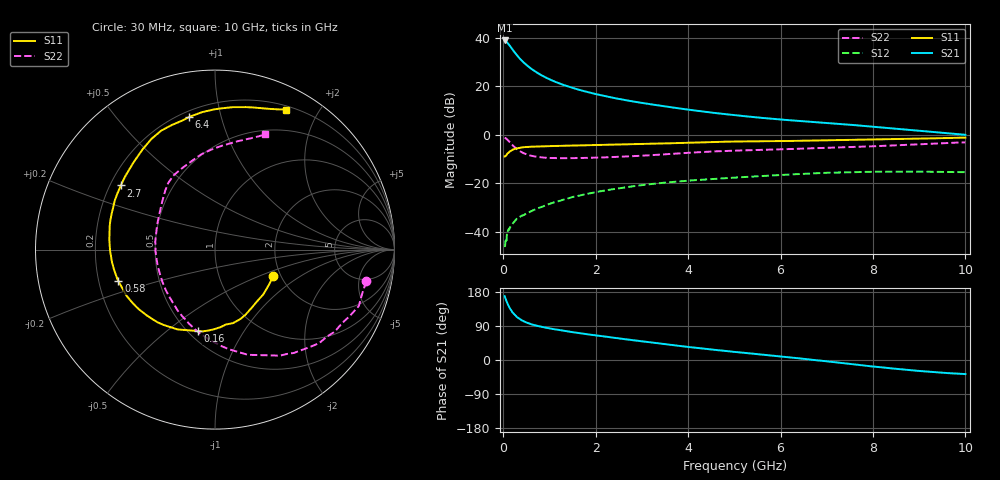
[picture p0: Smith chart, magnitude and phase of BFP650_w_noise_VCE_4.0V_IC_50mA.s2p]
! Infineon Technologies  Discrete & RF Semiconductors
! BFP650
! VCE =  4.0 V,  IC =  50 mA
! Common Emitter S-Parameters:  Jan 2016
# GHz  S  MA  R  50
!  f  S11  S21  S12  S22
! GHz  MAG  ANG  MAG  ANG  MAG  ANG  MAG  ANG
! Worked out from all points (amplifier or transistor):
!   229 points, 30 MHz to 10 GHz, reference 50 ohm
!   highest |S21| = 38.8 dB at 30 MHz (marker M1)
!   |S21| within 3 dB of that: start of sweep to 172.7 MHz
!   unconditionally stable (mu >= 1): 1.752 GHz to end of sweep
!   at 280 MHz: K = 0.50, MSG = 34.0 dB, |S12| = -34.8 dB
!   at 1.78 GHz: K = 1.00, MAG = 20.9 dB, |S12| = -24.4 dB
!   at 10 GHz: K = 1.03, MAG = 6.6 dB, |S12| = -15.4 dB
!   lowest NFmin = 0.97 dB at 450 MHz
!   S11 on the Smith chart (normalised r, x): 30 MHz: 1.82, -0.62; 160 MHz: 0.56, -0.64; 580 MHz: 0.28, -0.15; 2.7 GHz: 0.24, +0.29; 6.4 GHz: 0.23, +0.79; 10 GHz: 0.24, +1.60
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0.03  0.3571 -24.6  87.34 168.6  0.0052 75.8  0.8608 -11.9
0.05  0.367 -42.9  84.81 161.7  0.0066 63.5  0.8607 -21.4
0.065  0.3763 -54.2  83.2 157.3  0.0062 52.4  0.8276 -28.0
0.08  0.4005 -64.8  80.53 152.5  0.0095 62.4  0.8085 -34.5
0.1  0.4217 -76.2  76.71 146.9  0.0105 68.9  0.7802 -41.9
0.13  0.4438 -90.6  70.18 139.4  0.0111 56.9  0.7246 -52.6
0.16  0.4639 -102.1  64.25 133.4  0.013 51.7  0.6741 -61.0
0.2  0.4915 -115.2  57 125.7  0.0148 51.3  0.6144 -72.6
0.24  0.5088 -124.6  50.73 120.1  0.0162 52.5  0.5636 -81.4
0.3  0.5279 -135.8  42.91 113.0  0.0194 50.7  0.5027 -93.6
0.4  0.5489 -148.3  33.63 104.8  0.0216 50.3  0.4373 -109.3
0.58  0.5659 -162.0  23.88 95.6  0.026 52.2  0.3754 -129.6
0.8  0.5778 -172.6  17.33 88.2  0.032 53.9  0.3457 -147.3
1  0.5848 -179.5  13.85 83.3  0.0378 54.2  0.3337 -159.0
1.7  0.6061 163.6  8.129 70.0  0.0576 52.4  0.3334 174.9
2.7  0.6348 145.7  5.051 54.0  0.0844 43.4  0.359 151.6
3.4  0.6595 134.8  3.961 43.5  0.1014 36.1  0.3908 139.5
5.1  0.7281 113.4  2.478 20.3  0.1331 19.3  0.475 118.3
6.4  0.7518 101.2  1.931 4.4  0.1558 7.0  0.5162 103.2
6.8  0.7631 97.2  1.81 -0.7  0.162 2.6  0.53 99.6
8.4  0.8125 77.7  1.359 -22.1  0.1742 -15.0  0.601 81.3
10  0.8744 63.2  0.999 -37.2  0.1702 -27.6  0.6996 66.6
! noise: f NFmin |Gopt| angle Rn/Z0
0.45  0.97  0.2  -177  0.49
0.9  0.99  0.42  -167  0.06
1.9  1.12  0.45  -153  0.06
2.4  1.2  0.43  -143  0.08
3.5  1.43  0.46  -120  0.13
